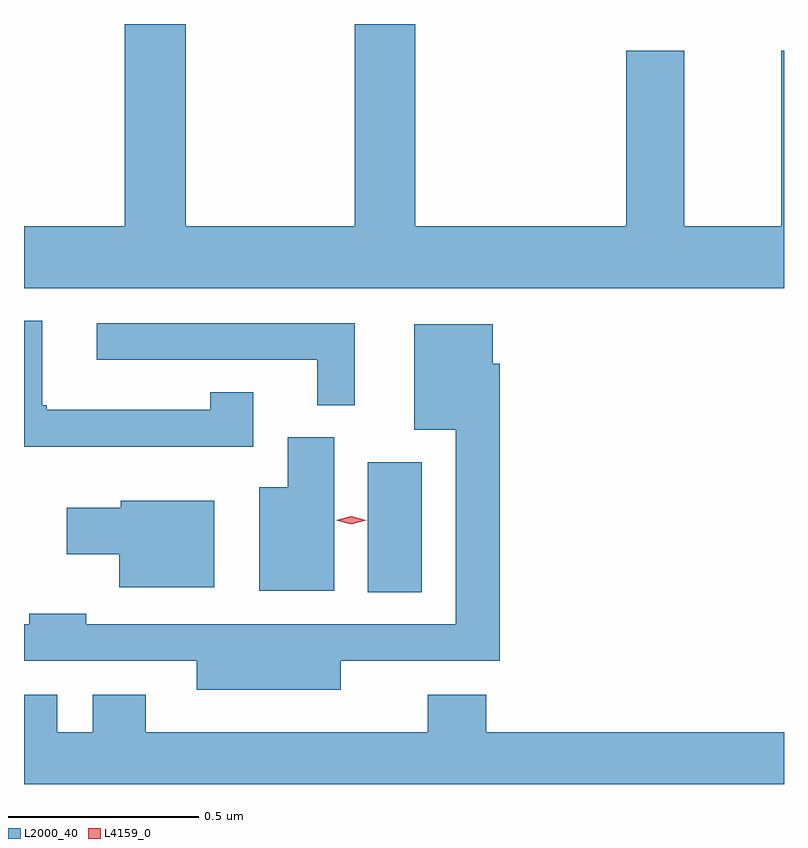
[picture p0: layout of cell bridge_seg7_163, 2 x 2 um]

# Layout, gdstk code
import gdstk
lib = gdstk.Library(unit=1e-6, precision=1e-09)
def R(c, l, rs):  # rectangles x0, y0, x1, y1
    for r in rs: c.add(gdstk.rectangle(r[:2], r[2:], *l))
def P(c, l, *ps):  # polygons
    for p in ps: c.add(gdstk.Polygon(p, *l))
L2000_40 = (2000, 40)
L4159_0 = (4159, 0)

bridge_seg7_163 = lib.new_cell('bridge_seg7_163')
R(bridge_seg7_163, L2000_40, [(403.334,1041.109,403.477,1041.451)])
P(bridge_seg7_163, L2000_40, [(404.43,1042.534),(404.423,1042.534),(404.423,1042.072),(404.167,1042.072),(404.167,1042.534),(404.015,1042.534),(404.015,1042.072),(403.46,1042.072),(403.46,1042.604),(403.3,1042.604),(403.3,1042.072),(402.855,1042.072),(402.855,1042.604),(402.695,1042.604),(402.695,1042.072),(402.43,1042.072),(402.43,1041.908),(404.43,1041.908)],
  [(403.033,1041.635),(402.92,1041.635),(402.92,1041.589),(402.49,1041.589),(402.49,1041.601),(402.478,1041.601),(402.478,1041.823),(402.43,1041.823),(402.43,1041.492),(402.555,1041.492),(402.555,1041.491),(403.033,1041.491)],
  [(403.3,1041.816),(402.621,1041.816),(402.621,1041.72),(403.202,1041.72),(403.202,1041.601),(403.3,1041.601)],
  [(403.264,1040.928),(403.682,1040.928),(403.682,1041.71),(403.663,1041.71),(403.663,1041.814),(403.457,1041.814),(403.457,1041.536),(403.566,1041.536),(403.566,1041.024),(402.594,1041.024),(402.594,1041.052),(402.444,1041.052),(402.444,1041.024),(402.43,1041.024),(402.43,1040.928),(402.884,1040.928),(402.884,1040.852),(403.264,1040.852)],
  [(403.246,1041.516),(403.124,1041.516),(403.124,1041.385),(403.049,1041.385),(403.049,1041.113),(403.246,1041.113)],
  [(402.931,1041.349),(402.684,1041.349),(402.684,1041.331),(402.543,1041.331),(402.543,1041.209),(402.68,1041.209),(402.68,1041.122),(402.931,1041.122)],
  [(402.751,1040.839),(402.611,1040.839),(402.611,1040.74),(402.517,1040.74),(402.517,1040.839),(402.43,1040.839),(402.43,1040.604),(404.43,1040.604),(404.43,1040.74),(403.646,1040.74),(403.646,1040.839),(403.493,1040.839),(403.493,1040.74),(402.751,1040.74)])
P(bridge_seg7_163, L4159_0, [(403.291,1041.288),(403.25,1041.298),(403.25,1041.298),(403.25,1041.298),(403.291,1041.308),(403.331,1041.298),(403.332,1041.298),(403.331,1041.298)])

lib.write_gds('bridge_seg7_163.gds')
